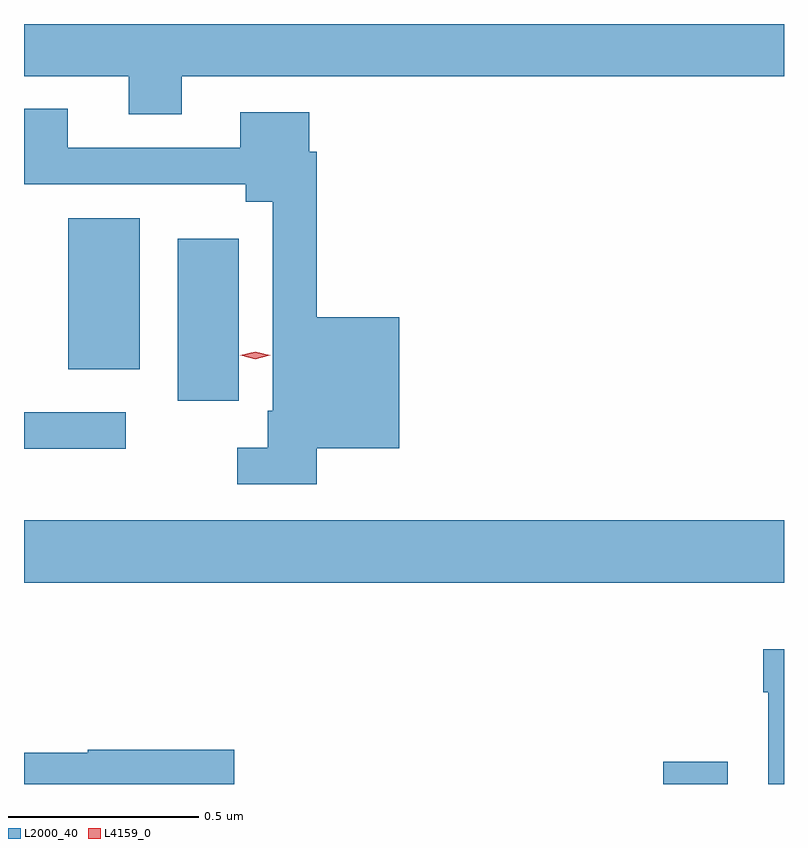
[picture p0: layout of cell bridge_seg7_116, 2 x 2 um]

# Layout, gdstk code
import gdstk
lib = gdstk.Library(unit=1e-6, precision=1e-09)
def R(c, l, rs):  # rectangles x0, y0, x1, y1
    for r in rs: c.add(gdstk.rectangle(r[:2], r[2:], *l))
def P(c, l, *ps):  # polygons
    for p in ps: c.add(gdstk.Polygon(p, *l))
L2000_40 = (2000, 40)
L4159_0 = (4159, 0)

bridge_seg7_116 = lib.new_cell('bridge_seg7_116')
R(bridge_seg7_116, L2000_40, [(702.992,1034.718,703.162,1034.776), (701.31,1035.248,703.31,1035.412), (701.31,1035.6,701.578,1035.696), (701.714,1035.726,701.875,1036.153), (701.426,1035.809,701.614,1036.207)])
P(bridge_seg7_116, L2000_40, [(701.725,1036.58),(703.31,1036.58),(703.31,1036.718),(701.31,1036.718),(701.31,1036.58),(701.585,1036.58),(701.585,1036.481),(701.725,1036.481)],
  [(702.08,1035.602),(702.298,1035.602),(702.298,1035.946),(702.08,1035.946),(702.08,1036.382),(702.061,1036.382),(702.061,1036.486),(701.879,1036.486),(701.879,1036.392),(701.425,1036.392),(701.425,1036.495),(701.31,1036.495),(701.31,1036.296),(701.894,1036.296),(701.894,1036.25),(701.964,1036.25),(701.964,1035.7),(701.952,1035.7),(701.952,1035.603),(701.871,1035.603),(701.871,1035.507),(702.08,1035.507)],
  [(703.31,1035.073),(703.256,1035.073),(703.256,1034.96),(703.268,1034.96),(703.268,1034.718),(703.31,1034.718)],
  [(701.863,1034.808),(701.478,1034.808),(701.478,1034.8),(701.31,1034.8),(701.31,1034.718),(701.863,1034.718)])
P(bridge_seg7_116, L4159_0, [(701.918,1035.836),(701.879,1035.846),(701.879,1035.846),(701.879,1035.846),(701.918,1035.856),(701.958,1035.846),(701.958,1035.846),(701.958,1035.846)])

lib.write_gds('bridge_seg7_116.gds')
